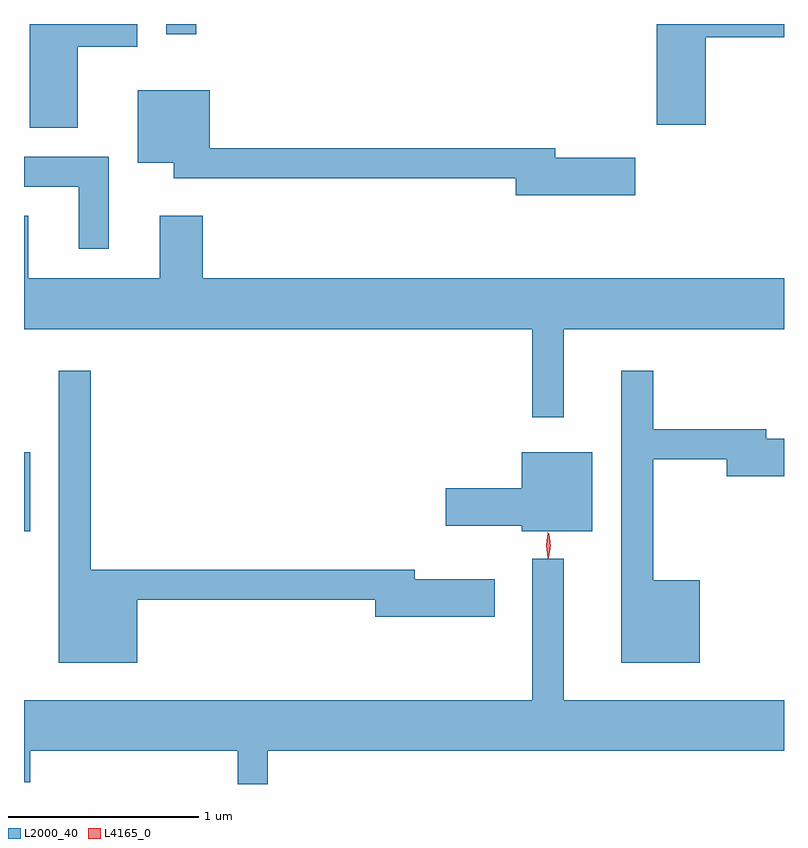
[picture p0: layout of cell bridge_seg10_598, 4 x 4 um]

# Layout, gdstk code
import gdstk
lib = gdstk.Library(unit=1e-6, precision=1e-09)
def R(c, l, rs):  # rectangles x0, y0, x1, y1
    for r in rs: c.add(gdstk.rectangle(r[:2], r[2:], *l))
def P(c, l, *ps):  # polygons
    for p in ps: c.add(gdstk.Polygon(p, *l))
L2000_40 = (2000, 40)
L4165_0 = (4165, 0)

bridge_seg10_598 = lib.new_cell('bridge_seg10_598')
R(bridge_seg10_598, L2000_40, [(647.057,2132.831,647.089,2133.249), (647.806,2135.448,647.964,2135.502)])
P(bridge_seg10_598, L2000_40, [(647.339,2135.381),(647.654,2135.381),(647.654,2135.502),(647.086,2135.502),(647.086,2134.956),(647.339,2134.956)],
  [(650.644,2135.431),(651.057,2135.431),(651.057,2135.502),(650.386,2135.502),(650.386,2134.971),(650.644,2134.971)],
  [(650.274,2134.799),(649.854,2134.799),(649.854,2134.849),(648.034,2134.849),(648.034,2135.154),(647.656,2135.154),(647.656,2134.771),(647.846,2134.771),(647.846,2134.691),(649.646,2134.691),(649.646,2134.601),(650.274,2134.601)],
  [(647.504,2134.804),(647.057,2134.804),(647.057,2134.646),(647.346,2134.646),(647.346,2134.318),(647.504,2134.318)],
  [(649.899,2133.896),(651.057,2133.896),(651.057,2134.164),(647.999,2134.164),(647.999,2134.494),(647.771,2134.494),(647.771,2134.164),(647.079,2134.164),(647.079,2134.494),(647.057,2134.494),(647.057,2133.896),(649.731,2133.896),(649.731,2133.433),(649.899,2133.433)],
  [(650.614,2132.574),(650.369,2132.574),(650.369,2133.211),(650.756,2133.211),(650.756,2133.121),(651.057,2133.121),(651.057,2133.319),(650.964,2133.319),(650.964,2133.369),(650.369,2133.369),(650.369,2133.678),(650.201,2133.678),(650.201,2132.141),(650.614,2132.141)],
  [(647.654,2132.471),(648.906,2132.471),(648.906,2132.381),(649.534,2132.381),(649.534,2132.579),(649.114,2132.579),(649.114,2132.629),(647.409,2132.629),(647.409,2133.678),(647.241,2133.678),(647.241,2132.141),(647.654,2132.141)],
  [(650.049,2133.249),(649.676,2133.249),(649.676,2133.059),(649.276,2133.059),(649.276,2132.861),(649.676,2132.861),(649.676,2132.831),(650.049,2132.831)],
  [(648.339,2131.676),(651.057,2131.676),(651.057,2131.944),(649.899,2131.944),(649.899,2132.688),(649.731,2132.688),(649.731,2131.944),(647.057,2131.944),(647.057,2131.511),(647.089,2131.511),(647.089,2131.676),(648.181,2131.676),(648.181,2131.502),(648.339,2131.502)])
P(bridge_seg10_598, L4165_0, [(649.818,2132.693),(649.818,2132.693),(649.809,2132.756),(649.82,2132.82),(649.821,2132.82),(649.821,2132.82),(649.83,2132.756),(649.819,2132.693)],
  [(649.815,2132.689),(649.814,2132.69),(649.805,2132.758),(649.814,2132.825),(649.814,2132.826),(649.815,2132.825),(649.824,2132.758),(649.816,2132.69)])

lib.write_gds('bridge_seg10_598.gds')
